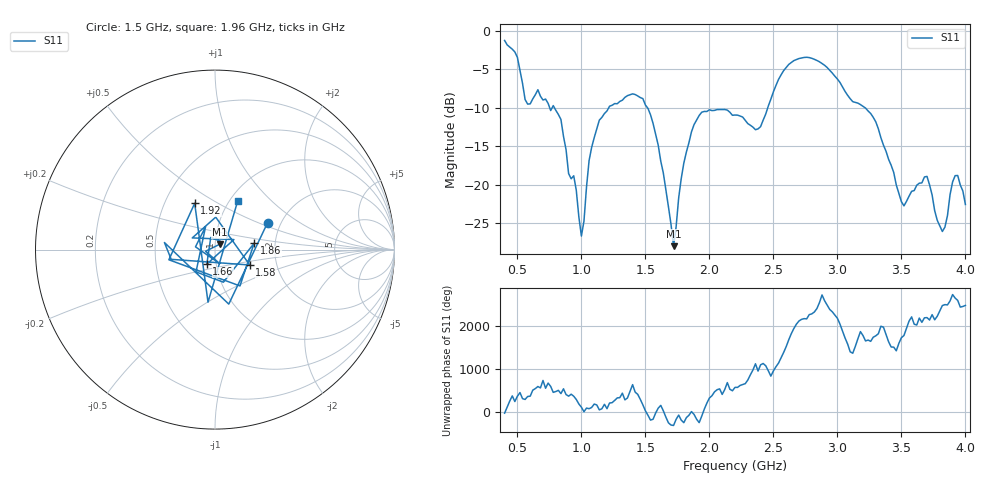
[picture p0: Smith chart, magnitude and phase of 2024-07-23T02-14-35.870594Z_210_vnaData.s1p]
!Created with skrf (http://scikit-rf.org).
# Hz S RI R 50.0
!freq ReS11 ImS11
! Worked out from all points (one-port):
!   181 points, 400 MHz to 4 GHz, reference 50 ohm
!   lowest |S11| = -28.0 dB at 1.72 GHz (marker M1), VSWR 1.08, Z = 52.6 + j3.15 ohm
!   |S11| at or under -10 dB: 789.1 MHz to 1.214 GHz (424.5 MHz wide, 42.4 % of centre); 1.516 GHz to 2.456 GHz (939.8 MHz wide, 47.3 % of centre); 3.216 GHz to end of sweep (the widest 3 of 4)
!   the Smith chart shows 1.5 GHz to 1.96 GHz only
!   S11 on the Smith chart (normalised r, x): 1.5 GHz: 1.71, +0.58; 1.58 GHz: 1.45, -0.26; 1.66 GHz: 0.90, -0.15; 1.86 GHz: 1.55, +0.11; 1.92 GHz: 0.71, +0.39; 1.96 GHz: 1.09, +0.65
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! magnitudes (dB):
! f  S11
! 400 MHz  -1.3
! 500 MHz  -3.5
! 580 MHz  -9.5
! 660 MHz  -7.7
! 860 MHz  -13.7
! 940 MHz  -18.8
! 1 GHz  -26.7
! 1.1 GHz  -13.9
! 1.3 GHz  -9.2
! 1.5 GHz  -9.6
! 1.58 GHz  -13.5
! 1.66 GHz  -20.6
! 1.72 GHz  -28.0
! 1.76 GHz  -21.7
! 1.86 GHz  -13.1
! 1.92 GHz  -11.0
! 1.96 GHz  -10.5
! 2.2 GHz  -10.9
! 2.4 GHz  -12.5
! 2.66 GHz  -3.9
! 3.1 GHz  -8.8
! 3.28 GHz  -11.2
! 3.5 GHz  -22.2
! 3.56 GHz  -21.5
! 3.7 GHz  -18.9
! 3.82 GHz  -26.1
! 3.92 GHz  -18.8
! 4 GHz  -22.6
